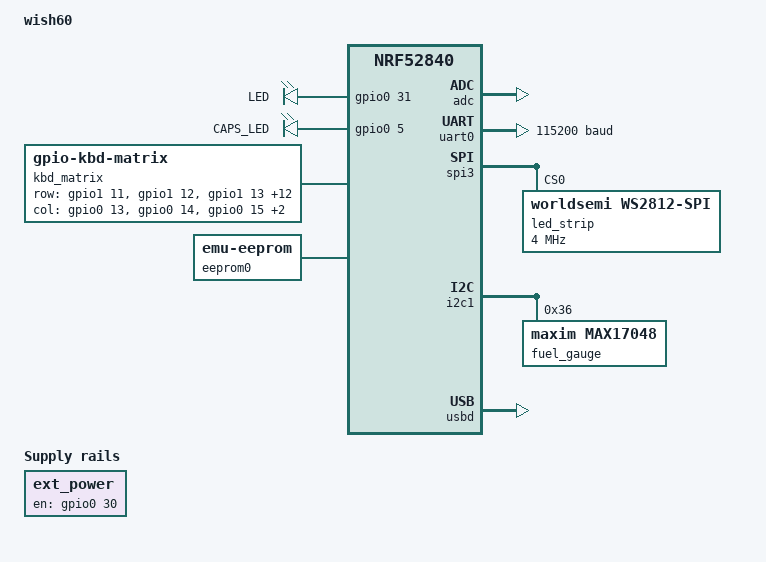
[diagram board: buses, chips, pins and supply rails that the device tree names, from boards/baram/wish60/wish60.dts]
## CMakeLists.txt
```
cmake_minimum_required(VERSION 3.20.0)

# 디버그 콘솔(UART/CLI/로그) — 기본 OFF(저전력). 개발 시: -DDEBUG_CONSOLE=y
#
# C 코드(_USE_HW_DEBUG_CONSOLE)와 Kconfig(debug.conf 의 CONFIG_SERIAL 등)를 반드시
# 한 스위치로 함께 움직인다. 둘이 갈라지면 조용히 전력을 먹는다 — 실제로 C 만 껐을 때
# Zephyr 콘솔 스택이 Kconfig 로 남아 1.13mA 를 계속 먹었다(콘솔 완전 제거 시 80.9µA).
# EXTRA_CONF_FILE 은 find_package(Zephyr) 전에 설정돼야 한다.
option(DEBUG_CONSOLE "Enable debug console (UART/CLI/log). Costs ~1mA — off for battery builds." OFF)
if (DEBUG_CONSOLE)
  list(APPEND EXTRA_CONF_FILE ${CMAKE_CURRENT_SOURCE_DIR}/debug.conf)
endif()

# out-of-tree board(boards/baram/<kbd>) 와 DTS 바인딩(dts/bindings/) 을 Zephyr 가 찾게 한다.
# 둘 다 find_package(Zephyr) **전에** 설정돼야 한다.
#
# [왜 여기서 하나] Zephyr 는 앱 폴더를 BOARD_ROOT 에 자동으로 넣지 않는다(확인함 —
# 없으면 "No board named 'wish65' found"). 예전엔 빌드할 때마다 -DBOARD_ROOT=$PWD 를 넘겼는데,
# 그러면 west 를 직접 부르거나 VS Code nRF Connect 확장을 쓸 때마다 그걸 기억해야 한다.
# 여기 두면 **어떤 방법으로 빌드하든** 보드를 찾는다.
list(APPEND BOARD_ROOT ${CMAKE_CURRENT_SOURCE_DIR})
list(APPEND DTS_ROOT   ${CMAKE_CURRENT_SOURCE_DIR})

find_package(Zephyr REQUIRED HINTS $ENV{ZEPHYR_BASE})



project(nrf52-qmk-fw)

if (DEBUG_CONSOLE)
  target_compile_definitions(app PRIVATE _USE_HW_DEBUG_CONSOLE)
endif()


# 빌드할 키보드 선택 — **board 이름에서 유도한다**.
#
# 키보드 한 대 = 두 트리다(§4.1): 하드웨어는 boards/baram/<board>/, 로직은
# keyboards/baram/<board>/. 이름 규약이 그 둘을 잇는 유일한 장치다.
#
# [왜 고정 기본값을 두지 않나] 예전엔 wish60 으로 고정돼 있었다. 그러면 `west build -b wish65`
# 가 **에러 없이 성공하고 wish60 의 키맵/MATRIX/USB PID 로 빌드된다** — 조용히 틀리는 게
# 컴파일 에러보다 나쁘다. 없는 키보드는 여기서 즉시 FATAL_ERROR 로 잡는다.
if (NOT DEFINED KEYBOARD_PATH)
  set(KEYBOARD_PATH "keyboards/baram/${BOARD}")
endif()
if (NOT EXISTS "${CMAKE_CURRENT_SOURCE_DIR}/src/ap/modules/qmk/${KEYBOARD_PATH}/config.h")
  message(FATAL_ERROR
    "키보드 트리가 없다: src/ap/modules/qmk/${KEYBOARD_PATH}\n"
    "  board '${BOARD}' 에 대응하는 키보드가 없다. 다음 중 하나를 하라:\n"
    "   - src/ap/modules/qmk/keyboards/baram/${BOARD}/ 를 만든다 (config.h 필수)\n"
    "   - 또는 -DKEYBOARD_PATH=keyboards/baram/<kbd> 로 명시한다")
endif()
message(STATUS "keyboard: ${KEYBOARD_PATH}  (board: ${BOARD})")

# QMK 코어 vendor-in 빌드 조각 (QMK_SRC_FILES / QMK_INC_DIR / compile defs 설정)
include(src/ap/modules/qmk/CMakeLists.txt)


# 지정한 폴더에 있는 파일만 포함한다.
#
file(GLOB SRC_FILES CONFIGURE_DEPENDS
  src/*.c
  src/ap/*.c
)

# 하위폴더에 있는 파일까지 포함한다. (qmk 모듈은 위 include 에서 선택적으로 처리)
#
file(GLOB_RECURSE SRC_FILES_RECURSE CONFIGURE_DEPENDS
  src/ap/modules/module.c
  src/ap/modules/common/*.c
  src/bsp/*.c
  src/common/*.c
  src/hw/*.c
)

target_sources(app PRIVATE
  ${SRC_FILES}
  ${SRC_FILES_RECURSE}
  ${QMK_SRC_FILES}
)

target_include_directories(app PRIVATE
  src
  src/ap
  src/ap/modules
  src/ap/modules/common
  src/bsp
  src/common
  src/common/core
  src/common/hw/include
  src/hw
  src/hw/driver/usb
  src/lib
  ${QMK_INC_DIR}
)

zephyr_linker_sources(SECTIONS src/bsp/ldscript/ldscript.ld)
```

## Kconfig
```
# 앱 전용 Kconfig. Zephyr 가 자동으로 source 한다.

config KBD_FW_VERSION
	string "펌웨어 버전 (baram 관례: V + YYMMDD + R#)"
	default "V260717R1"
	help
	  **버전의 단일 출처.** 여기 하나만 고치면 다음이 전부 따라간다:
	    - 부팅 로그 (hw_def.h 의 _DEF_FIRMWATRE_VERSION)
	    - BLE DIS 의 Firmware Revision 특성 (BT_DIS_FW_REV_STR 의 default)
	    - release.sh 가 만드는 파일명 (output/<board>-<ver>.uf2)

	  C 매크로(hw_def.h)가 아니라 Kconfig 에 두는 이유: Kconfig 는 C 를 못 읽지만 C 는
	  Kconfig 를 읽을 수 있다. DIS 처럼 Kconfig 로만 설정되는 소비자가 있으므로 여기가
	  유일하게 성립하는 자리다.

# BLE DIS 의 펌웨어 리비전을 위 값으로. (Zephyr 기본값은 "0.0.0+0")
config BT_DIS_FW_REV_STR
	default KBD_FW_VERSION

source "Kconfig.zephyr"
```

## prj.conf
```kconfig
# [저전력] 콘솔/시리얼(CONFIG_SERIAL 등)은 여기 없다 — debug.conf 로 분리했다.
# UARTE 는 RX 활성 시 HFCLK 를 잡아 ~1mA 를 먹는다(실측 1.13mA vs 80.9µA).
# 개발 시에만: west build ... -- -DDEBUG_CONSOLE=y

CONFIG_GPIO=y

# 배터리 잔량 — nRF VDDH 내장 ADC (외부 부품 0). driver/battery.c
# 나중에 MAX17048 로 확장 시: CONFIG_FUEL_GAUGE=y + CONFIG_MAX17048=y + CONFIG_I2C=y
CONFIG_ADC=y

# 네오픽셀: ext-power 레일(regulator-fixed) + ws2812(SPIM 으로 비트 패턴 전송).
# REGULATOR_FIXED / WS2812_STRIP_SPI 는 DTS 노드가 있으면 default y 라 안 적어도 켜진다.
CONFIG_REGULATOR=y
CONFIG_LED_STRIP=y

# SPIM3 는 첫 전송 때 nrfx_spim_init() 되고 그 뒤 **계속 ENABLE 로 남는다**
# (spi_nrfx_spim.c 의 configure()). PM 이 없으면 uninit 될 기회가 없어 RGB 를 꺼도
# ~1mA 를 계속 먹는다(실측). SPIM3 는 nRF52840 anomaly 195 대상이고 그 workaround 는
# nrfx_spim_uninit() 때 적용되므로 uninit 이 반드시 필요하다.
#
# [주의] CONFIG_PM_DEVICE_RUNTIME 은 쓰지 않는다 — 실측에서 idle 이 69µA -> 652µA 로
# 10배 악화됐다(워크큐/딸려오는 노드 오버헤드). Phase 6 의 UART 런타임 PM 과 같은 함정.
# 대신 PM_DEVICE 만 켜고 **RGB 를 끌 때만 수동으로 suspend** 한다(rgb_matrix_drivers.c).
CONFIG_PM_DEVICE=y

# QMK 코어가 GNU C 확장을 쓴다(quantum/eeconfig.h 의 EECONFIG_DEBOUNCE_HELPER -> typeof).
# 기본값 CONFIG_STD_C99 는 -std=c99 라 GNU 확장이 꺼져 컴파일이 막힌다.
CONFIG_GNU_C_EXTENSIONS=y

CONFIG_MAIN_STACK_SIZE=8192
CONFIG_MULTITHREADING=y

# USB HID
#
CONFIG_USB_DEVICE_STACK_NEXT=y
CONFIG_CDC_ACM_SERIAL_INITIALIZE_AT_BOOT=n
CONFIG_USBD_HID_SUPPORT=y
CONFIG_ENABLE_HID_INT_OUT_EP=y

CONFIG_USBD_LOG_LEVEL_WRN=y
CONFIG_USBD_HID_LOG_LEVEL_WRN=y
CONFIG_UDC_DRIVER_LOG_LEVEL_WRN=y

CONFIG_INPUT=y
CONFIG_INPUT_MODE_SYNCHRONOUS=y

# 키 매트릭스: Zephyr 네이티브 gpio-kbd-matrix (DTS: kbd_matrix).
# idle 시 인터럽트 대기로 CPU sleep (저전력). 디바운스는 QMK 가 담당(드라이버 0).
CONFIG_INPUT_GPIO_KBD_MATRIX=y
# 입력 라인 15개(wish60 col) → 8비트 기본으론 8개 한도라 16비트 row 타입 필요
CONFIG_INPUT_KBD_MATRIX_16_BIT_ROW=y

# 부트로더는 보드에 미리 플래시된 UF2 부트로더(wish60/Adafruit) 사용.
# 앱을 code_partition(0x1000) 오프셋에 맞춰 빌드하고 .uf2 산출물 생성.
CONFIG_USE_DT_CODE_PARTITION=y
CONFIG_BUILD_OUTPUT_UF2=y

# bootloader_jump()/mcu_reset() 에서 sys_reboot() 사용
CONFIG_REBOOT=y

# deep sleep: sys_poweroff() = nRF52 System OFF (port/activity.c)
# 웨이크업은 GPIO DETECT 로만 — board DTS 의 sense-edge-mask 가 전제다.
CONFIG_POWEROFF=y

# QMK 키맵 영속화: 플래시 에뮬레이션 EEPROM (eeprom0 노드)
CONFIG_FLASH=y
CONFIG_FLASH_MAP=y
CONFIG_FLASH_PAGE_LAYOUT=y
CONFIG_MPU_ALLOW_FLASH_WRITE=y
CONFIG_EEPROM=y
CONFIG_EEPROM_EMULATOR=y

# BLE (Phase 5) — NCS 의 HID over GATT 서비스(BT_HIDS) 사용.
CONFIG_BT=y
CONFIG_BT_PERIPHERAL=y
# BLE 이름은 **키보드 config.h 의 KBD_NAME 이 진실**이다(USB 제품명과 같은 출처).
# 이 값은 bt_set_name() 전까지의 fallback 일 뿐 — 여기 키보드 이름을 적지 말 것.
# (예전엔 "WISH60" 이 박혀 있어서 모든 보드가 WISH60 으로 광고됐다)
CONFIG_BT_DEVICE_NAME="baram-kbd"
CONFIG_BT_DEVICE_NAME_DYNAMIC=y
CONFIG_BT_DEVICE_NAME_MAX=32
# 961 = HID Keyboard
CONFIG_BT_DEVICE_APPEARANCE=961
# 페어링/본딩 (HID over GATT 는 암호화 필수)
CONFIG_BT_SMP=y
# 프로파일 5개를 ZMK 처럼 **동시에 연결한 채로** 두고 활성 프로파일에만 리포트를 보낸다
# (전환 시 재연결 대기 없음). 그래서 BT_MAX_CONN 도 5.
CONFIG_BT_MAX_CONN=5
# 활성 프로파일이 이미 다른 호스트에게 잡혀 있으면 페어링을 거부한다(port/ble.c auth_pairing_accept).
# 없으면 새 호스트가 기존 프로파일을 덮어써 슬롯을 잃는다.
CONFIG_BT_SMP_APP_PAIRING_ACCEPT=y
# 같은 호스트가 다시 페어링할 때 기존 본딩을 덮어쓰도록 허용한다. 없으면 Zephyr 의
# update_keys_check() 가 거부하고 BT_SMP_ERR_AUTH_REQUIREMENTS(security err 4)를 낸다
# — 호스트에서 페어링을 지우고 다시 붙일 때마다 실패한다. ZMK 도 imply 로 켠다.
CONFIG_BT_SMP_ALLOW_UNAUTH_OVERWRITE=y

# TX power 런타임 변경(port/ble.c 의 bleSetTxPower). 이 옵션이 있어야 SoftDevice Controller 가
# VS HCI 명령 0xfc0e(WRITE_TX_POWER_LEVEL)를 처리한다(nrf/.../hci_internal.c 의 #if).
# Zephyr **표준** VS 명령이라 순수 Zephyr 컨트롤러로 옮겨도 그대로 동작한다(NCS 락인 아님).
CONFIG_BT_CTLR_TX_PWR_DYNAMIC_CONTROL=y
# BLE 프로파일(호스트 전환용) 5개 = 본딩 5개. ZMK 기본값(ZMK_BLE_PROFILE_COUNT)과 동일.
# 프로파일 선택/광고 전환 로직은 앱 레벨(port/ble.c)에서 구현한다(ZMK app/src/ble.c 패턴).
CONFIG_BT_MAX_PAIRED=5
CONFIG_BT_HIDS=y
CONFIG_BT_HIDS_MAX_CLIENT_COUNT=5
CONFIG_BT_HIDS_DEFAULT_PERM_RW_ENCRYPT=y
CONFIG_BT_CONN_CTX=y
CONFIG_BT_GATT_AUTO_SEC_REQ=n
CONFIG_BT_ATT_TX_COUNT=5
CONFIG_BT_GATT_UUID16_POOL_SIZE=40
CONFIG_BT_GATT_CHRC_POOL_SIZE=20
# 배터리 서비스 (Phase 6 에서 값 공급)
CONFIG_BT_BAS=y
CONFIG_BT_DIS=y

# Device Information Service — 호스트가 "이 키보드가 뭔가" 를 읽는 곳.
#
# [보드마다 달라야 하는 것은 여기 두지 않는다] 이 파일은 **모든 보드가 공유**한다.
# 모델명과 PnP PID 는 보드 defconfig 에 있다(BLE 이름이 전부 "WISH60" 이던 것과 같은 함정).
# 그리고 model/PnP 는 런타임 설정이 안 된다 — dis_set() 이 다루는 건 manuf/model/serial/fw/hw
# 뿐이고 PnP 는 없다. 그래서 Kconfig(보드 defconfig)가 유일한 자리다.
CONFIG_BT_DIS_MANUF_NAME=y
CONFIG_BT_DIS_MANUF_NAME_STR="BARAM"

# 펌웨어 리비전 — 값은 앱 Kconfig 의 KBD_FW_VERSION 이 준다(레포 루트 Kconfig 의 default).
# **릴리스 빌드는 콘솔이 없어 부팅 로그로 버전을 볼 수 없다.** 이게 배포된 펌웨어가 자기
# 버전을 말할 수 있는 유일한 통로다(nRF Connect 같은 앱에서 읽힌다).
CONFIG_BT_DIS_FW_REV=y

# PnP ID — 호스트가 장치를 식별하는 데 쓴다. VID_SRC=2 = USB Implementer's Forum
# (우리 VID 0x0483 은 USB VID 다). PID 는 보드마다 달라 defconfig 에 있다.
CONFIG_BT_DIS_PNP=y
CONFIG_BT_DIS_PNP_VID_SRC=2
CONFIG_BT_DIS_PNP_VID=0x0483

# BLE 연결 파라미터 — 무선 전력의 핵심. ZMK 기본값과 동일하게 맞춘다.
# 단위 1.25ms → 연결 간격 7.5~15ms
CONFIG_BT_PERIPHERAL_PREF_MIN_INT=6
CONFIG_BT_PERIPHERAL_PREF_MAX_INT=12
# slave latency: 보낼 게 없으면 연결 이벤트를 최대 30개 건너뛴다.
# → idle 시 15ms*(30+1) ≈ 465ms 마다만 라디오 wakeup (기본값 0 이면 매 간격마다 깨어남).
# 키 입력 시엔 즉시 전송되므로 체감 지연 없음.
CONFIG_BT_PERIPHERAL_PREF_LATENCY=30
# supervision timeout 4s (latency*interval 보다 충분히 커야 연결이 안 끊긴다)
CONFIG_BT_PERIPHERAL_PREF_TIMEOUT=400

# bond/설정 영속화 (storage_partition = 0xdc000, emu-eeprom 파티션과 별개)
CONFIG_SETTINGS=y
CONFIG_SETTINGS_NVS=y
CONFIG_NVS=y
CONFIG_BT_SETTINGS=y

CONFIG_SYSTEM_WORKQUEUE_STACK_SIZE=2048
```

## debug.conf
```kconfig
# 디버그 콘솔 오버레이 — `-DDEBUG_CONSOLE=y` 일 때만 적용된다(CMakeLists.txt).
#
# 이 파일이 prj.conf 와 분리된 이유(실측 근거):
#   배터리 idle 전류 1.13mA → 80.9µA (14배). 차이는 전부 UARTE 였다.
#   nRF52840 UARTE 는 RX 활성 상태에서 HFCLK 를 계속 잡아 ~1mA 를 먹는다.
#   C 코드만 빼는 것(_USE_HW_DEBUG_CONSOLE)으로는 부족하다 — 그때는 1.21→1.13mA 로
#   거의 변화가 없었다. Zephyr 콘솔 스택이 Kconfig 로 여전히 빌드·초기화되기 때문.
#   즉 콘솔 제거는 반드시 C(_USE_HW_*)와 Kconfig(CONFIG_SERIAL) 양쪽이어야 한다.
#   런타임 게이팅(PM suspend)도 시도했으나 오히려 악화됐다(1.21→1.98mA).

CONFIG_SERIAL=y
CONFIG_CONSOLE=y
CONFIG_UART_CONSOLE=y

CONFIG_CONSOLE_SUBSYS=y
CONFIG_CONSOLE_GETCHAR=y
CONFIG_CONSOLE_GETCHAR_BUFSIZE=64
CONFIG_CONSOLE_PUTCHAR_BUFSIZE=512

CONFIG_LOG=y
```

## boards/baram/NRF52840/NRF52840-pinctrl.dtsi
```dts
&pinctrl {
  uart0_default: uart0_default {
    group1 {
      psels = <NRF_PSEL(UART_TX, 0, 10)>, <NRF_PSEL(UART_RX, 0, 9)>;
    };
  };

  uart0_sleep: uart0_sleep {
    group1 {
      psels = <NRF_PSEL(UART_TX, 0, 10)>;
    };
  };

  /* ws2812(네오픽셀) — SPIM MOSI 만 쓴다. wish60 회로: P0.26 */
  spi3_default: spi3_default {
    group1 {
      psels = <NRF_PSEL(SPIM_MOSI, 0, 26)>;
    };
  };

  spi3_sleep: spi3_sleep {
    group1 {
      psels = <NRF_PSEL(SPIM_MOSI, 0, 26)>;
      low-power-enable;
    };
  };
};
```

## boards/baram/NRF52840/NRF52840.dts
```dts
/dts-v1/;
#include <nordic/nrf52840_qiaa.dtsi>
#include "NRF52840-pinctrl.dtsi"
#include <zephyr/dt-bindings/dt-util.h>   // BIT()
#include <zephyr/dt-bindings/led/led.h>      // LED_COLOR_ID_* (ws2812 color-mapping)

/ {
	model = "NRF52840";
	compatible = "baram,NRF52840";

	chosen {
		zephyr,sram = &sram0;
		zephyr,flash = &flash0;
		zephyr,code-partition = &code_partition;
    zephyr,console = &uart0;
	};

  /* 디버그용 LED (P0.31). 하트비트 등 개발 편의 — hw/driver/led.c. 키보드 기능과 무관. */
  leds {
    compatible = "gpio-leds";
    led: led_0 {
      gpios = <&gpio0 31 GPIO_ACTIVE_HIGH>;
      label = "LED";
    };
  };

  /*
   * 키보드 인디케이터 LED (P0.05) — 위 디버그 LED 와 **별개 부품**이다.
   *
   * 디버그 LED 드라이버(hw/driver/led.c)의 채널로 넣지 않고 노드를 따로 둔다: 그건 개발용이고
   * 이건 키보드 기능이라 수명이 다르다(디버그 LED 는 언젠가 빠져도 이건 남는다).
   * 사용처: keyboards/<kbd>/port/led_port.c 의 led_update_kb() — GPIO_DT_SPEC_GET 로 직접 잡는다.
   *
   * compatible 은 gpio-leds 를 쓴다(gpio-keys 는 입력 드라이버가 붙어 zephyr-code 를 요구한다).
   * CONFIG_LED 를 켜지 않으므로 LED 서브시스템 드라이버는 안 붙고 DT 매크로만 쓴다.
   */
  indicator_leds {
    compatible = "gpio-leds";
    caps_led: led_0 {
      gpios = <&gpio0 5 GPIO_ACTIVE_HIGH>;
      label = "CAPS_LED";
    };
  };

	usb_hid_kbd: hid_kbd {
		compatible = "zephyr,hid-device";
		label = "HID_KBD";
		protocol-code = "keyboard";
		in-report-size = <64>;
		in-polling-period-us = <1000>;
	};  

	usb_hid_via: hid_via {
		compatible = "zephyr,hid-device";
		label = "HID_VIA";
		protocol-code = "none";
		in-report-size = <32>;
    out-report-size = <32>;
		in-polling-period-us = <1000>;
    out-polling-period-us = <1000>;
	};

	usb_hid_exk: hid_exk {
		compatible = "zephyr,hid-device";
		label = "HID_EXK";
		protocol-code = "none";
		in-report-size = <64>;
		in-polling-period-us = <1000>;
  };

  /*
   * 키 매트릭스 — Zephyr 네이티브 gpio-kbd-matrix.
   *
   * [주의] Zephyr 명명은 반대다: row-gpios = 입력, col-gpios = 구동 출력.
   * wish60 은 row2col 이라 역매핑한다 — row-gpios = wish60 col(15), col-gpios = wish60 row(5).
   * 배경은 docs/PORTING-NOTES.md §2.4 참고.
   */
  /*
   * 네오픽셀 전원 레일 (wish60: P0.30).
   *
   * ZMK 는 zmk,ext-power-generic 이라는 자체 바인딩을 쓰지만, 이건 본질적으로 GPIO 로 켜고 끄는
   * 고정 레귤레이터라 Zephyr 네이티브 regulator-fixed 로 충분하다(regulator_enable/disable).
   * 흡수 코드 0 — kbd-matrix / MAX17048 과 같은 판단.
   *
   * wish60/wish65 둘 다 이 레일은 **네오픽셀만** 끊는다(595 는 상시 전원) — 확인됨.
   * regulator-boot-on 을 주지 않는다 = 부팅 시 꺼진 상태. RGB 를 켤 때만 올린다(전력).
   */
  ext_power: ext-power {
    compatible = "regulator-fixed";
    regulator-name = "ext-power";
    enable-gpios = <&gpio0 30 GPIO_ACTIVE_HIGH>;
    startup-delay-us = <1000>;   /* 레일이 올라올 시간. 바로 쓰면 첫 프레임이 깨진다 */
  };

  kbd_matrix: kbd-matrix {
    compatible = "gpio-kbd-matrix";

    row-gpios = <&gpio1 11 (GPIO_ACTIVE_HIGH | GPIO_PULL_DOWN)>,   /* wish60 col0  */
                <&gpio1 12 (GPIO_ACTIVE_HIGH | GPIO_PULL_DOWN)>,   /* col1  */
                <&gpio1 13 (GPIO_ACTIVE_HIGH | GPIO_PULL_DOWN)>,   /* col2  */
                <&gpio1 14 (GPIO_ACTIVE_HIGH | GPIO_PULL_DOWN)>,   /* col3  */
                <&gpio1 15 (GPIO_ACTIVE_HIGH | GPIO_PULL_DOWN)>,   /* col4  */
                <&gpio0  3 (GPIO_ACTIVE_HIGH | GPIO_PULL_DOWN)>,   /* col5  */
                <&gpio0 17 (GPIO_ACTIVE_HIGH | GPIO_PULL_DOWN)>,   /* col6  */
                <&gpio0 21 (GPIO_ACTIVE_HIGH | GPIO_PULL_DOWN)>,   /* col7  */
                <&gpio0 20 (GPIO_ACTIVE_HIGH | GPIO_PULL_DOWN)>,   /* col8  */
                <&gpio0 23 (GPIO_ACTIVE_HIGH | GPIO_PULL_DOWN)>,   /* col9  */
                <&gpio0 22 (GPIO_ACTIVE_HIGH | GPIO_PULL_DOWN)>,   /* col10 */
                <&gpio1  0 (GPIO_ACTIVE_HIGH | GPIO_PULL_DOWN)>,   /* col11 */
                <&gpio0 24 (GPIO_ACTIVE_HIGH | GPIO_PULL_DOWN)>,   /* col12 */
                <&gpio0 25 (GPIO_ACTIVE_HIGH | GPIO_PULL_DOWN)>,   /* col13 */
                <&gpio1 10 (GPIO_ACTIVE_HIGH | GPIO_PULL_DOWN)>;   /* col14 */

    col-gpios = <&gpio0 13 GPIO_ACTIVE_HIGH>,                      /* wish60 row0 */
                <&gpio0 14 GPIO_ACTIVE_HIGH>,                      /* row1 */
                <&gpio0 15 GPIO_ACTIVE_HIGH>,                      /* row2 */
                <&gpio0 16 GPIO_ACTIVE_HIGH>,                      /* row3 */
                <&gpio1  2 GPIO_ACTIVE_HIGH>;                      /* row4 */

    idle-mode = "interrupt";   /* 키 없을 때 인터럽트 대기 → CPU sleep */
    wakeup-source;             /* deep sleep(Phase 6)에서 wakeup 소스로 유지 */
    no-ghostkey-check;         /* 다이오드(row2col) 있으므로 고스팅 검사 불필요 */

    /*
     * 키 눌린 동안 매트릭스 재스캔 주기. QMK 처리 주기(config.h 의 QMK_TASK_PERIOD_MS)와는
     * **별개 노브**다 — 같을 필요 없다. 둘 다 CPU 를 깨우므로 전력엔 둘 다 영향을 준다.
     * 실측/근거는 docs/PORTING-NOTES.md §6.4.
     */
    poll-period-ms   = <2>;    /* 키 변화 감지 지연 <=2ms, USB 리포트율 500Hz */
    debounce-down-ms = <0>;    /* 디바운스는 QMK 가 담당 (이중 디바운스 방지) */
    debounce-up-ms   = <0>;
  };
};

&flash0 {
	/*
	 * wish60 단일슬롯 레이아웃. UF2 부트로더가 미리 들어있다고 전제하고 앱만 빌드한다.
	 * 반드시 --no-sysbuild 로 빌드할 것(안 그러면 부팅 안 함). docs/PORTING-NOTES.md §2.2/§2.3.
	 */
	partitions {
		compatible = "fixed-partitions";
		#address-cells = <1>;
		#size-cells = <1>;

		sd_partition: partition@0 {
			reg = <0x00000000 0x00001000>;
		};

		code_partition: partition@1000 {
			reg = <0x00001000 0x000d3000>;
		};

		/* QMK 키맵 영속화용 emu-eeprom 백엔드 (32KB = 8 페이지) */
		eeprom_partition: partition@d4000 {
			label = "eeprom";
			reg = <0x000d4000 0x00008000>;
		};

		/* 향후 NVS/settings (BLE bond 등, Phase 5) */
		storage_partition: partition@dc000 {
			label = "storage";
			reg = <0x000dc000 0x00018000>;
		};

		boot_partition: partition@f4000 {
			reg = <0x000f4000 0x0000c000>;
		};
	};
};

/ {
	/* QMK dynamic_keymap 저장소. size 는 config.h 의 TOTAL_EEPROM_BYTE_COUNT 와 일치시킬 것. */
	eeprom0: eeprom {
		compatible = "zephyr,emu-eeprom";
		size = <4096>;          /* 논리 EEPROM 크기 = config.h TOTAL_EEPROM_BYTE_COUNT */
		pagesize = <0x2000>;    /* 에뮬 페이지(=플래시 2페이지). size 보다 커야 함 */
		partition = <&eeprom_partition>;
		rambuf;             /* 읽기를 RAM 에서 → 플래시 read 회피 */
		partition-erase;    /* erase 지연·통합 → 플래시 erase 최소화 */
	};
};

/*
 * sense-edge-mask — row-gpios(입력) 핀을 그대로 BIT() 로 나열한다. 빠지면 빌드 에러
 * (port/matrix.c 의 BUILD_ASSERT). 이유는 docs/PORTING-NOTES.md §3.5 참고.
 */
&gpio0 {
  status = "okay";
  sense-edge-mask = <(BIT(3) | BIT(17) | BIT(20) | BIT(21) |
                      BIT(22) | BIT(23) | BIT(24) | BIT(25))>;
};

&gpiote {
  status = "okay";
};

/*
 * 배터리 잔량(VDDH) 측정용. MAX17048(i2c1 @0x36) 노드를 켜면 driver/battery.c 가 연료게이지
 * 백엔드로 자동 전환한다. docs/PORTING-NOTES.md §6.3 참고.
 */
&adc {
  status = "okay";
};

&uart0 {
  status = "okay";
  pinctrl-0 = <&uart0_default>;
  pinctrl-1 = <&uart0_sleep>;
  pinctrl-names = "default", "sleep";
  compatible = "nordic,nrf-uarte";
  current-speed = <115200>;
};

&gpio1 {
  status = "okay";
  sense-edge-mask = <(BIT(0) | BIT(10) | BIT(11) | BIT(12) |
                      BIT(13) | BIT(14) | BIT(15))>;
};

/*
 * 네오픽셀 — Zephyr 네이티브 worldsemi,ws2812-spi (SPIM MOSI 로 비트 패턴을 쏜다).
 * ZMK 도 같은 드라이버를 쓴다. 전원은 위 ext_power 레일이 공급한다.
 * 값(chain-length/color-mapping/frame)은 wish60 회로 기준.
 */
&spi3 {
  compatible = "nordic,nrf-spim";
  status = "okay";

  pinctrl-0 = <&spi3_default>;
  pinctrl-1 = <&spi3_sleep>;
  pinctrl-names = "default", "sleep";

  led_strip: ws2812@0 {
    compatible = "worldsemi,ws2812-spi";
    reg = <0>;                  /* SPI 바인딩상 필요하지만 CS 는 안 쓴다 */
    spi-max-frequency = <4000000>;

    chain-length = <16>;        /* wish60 언더글로우 LED 개수 */
    spi-one-frame = <0x70>;
    spi-zero-frame = <0x40>;
    color-mapping = <LED_COLOR_ID_GREEN LED_COLOR_ID_RED LED_COLOR_ID_BLUE>;
  };
};

zephyr_udc0: &usbd {
	compatible = "nordic,nrf-usbd";
	status = "okay";
	num-bidir-endpoints = <0>;
	num-in-endpoints = <7>;
	num-out-endpoints = <2>;
	num-isoin-endpoints = <0>;
	num-isoout-endpoints = <0>;
};
```

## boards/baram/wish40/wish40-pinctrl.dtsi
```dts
&pinctrl {
  /*
   * **UART 없음.** 이 보드엔 디버그 UART 배선이 없다(회로도 확인 — H2 는 SWD 만).
   * 따라서 `./build.sh wish40 -d`(콘솔 빌드)를 쓸 수 없다. 필요해지면 SWD 로 RTT 콘솔을
   * 붙이는 방법이 있다(CONFIG_RTT_CONSOLE) — 아직 안 해봤다.
   */

  /* ws2812(네오픽셀) — SPIM MOSI 만 쓴다. wish40 회로: P0.26 (TXB0101 레벨시프터 경유) */
  spi3_default: spi3_default {
    group1 {
      psels = <NRF_PSEL(SPIM_MOSI, 0, 26)>;
    };
  };

  spi3_sleep: spi3_sleep {
    group1 {
      psels = <NRF_PSEL(SPIM_MOSI, 0, 26)>;
      low-power-enable;
    };
  };

  /* MAX17048 연료게이지 — SDA P0.28 / SCL P0.29 */
  i2c1_default: i2c1_default {
    group1 {
      psels = <NRF_PSEL(TWIM_SDA, 0, 28)>,
              <NRF_PSEL(TWIM_SCL, 0, 29)>;
      bias-pull-up;
    };
  };

  i2c1_sleep: i2c1_sleep {
    group1 {
      psels = <NRF_PSEL(TWIM_SDA, 0, 28)>,
              <NRF_PSEL(TWIM_SCL, 0, 29)>;
      low-power-enable;
      bias-pull-up;
    };
  };
};
```

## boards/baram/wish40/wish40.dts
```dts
/dts-v1/;
#include <nordic/nrf52840_qiaa.dtsi>
#include "wish40-pinctrl.dtsi"
#include <zephyr/dt-bindings/dt-util.h>      // BIT()
#include <zephyr/dt-bindings/led/led.h>      // LED_COLOR_ID_* (ws2812 color-mapping)

/*
 * wish40 — 40% 배열(42키), nRF52840 (E73-2G4M08S1C 모듈).
 *
 * 다른 보드와의 차이:
 *  - **MAX17048 연료게이지**(i2c1 @0x36). wish60/wish65 는 VDDH ADC 다 — 이 보드가 처음이다.
 *    driver/battery.c 가 DT 로 백엔드를 자동 선택한다(§6.3).
 *  - **네오픽셀 42개**(wish60 16 / wish65 18). 그래서 밝기 상한을 낮췄다 — config.h 참고.
 *  - **Caps LED 가 없다**. 디버그 LED(P0.04)만 있다 -> caps_led 노드 없음 = led_port.c 컴파일아웃.
 *  - **디버그 UART 가 없다**(회로도 확인 — H2 는 SWD 만). 콘솔 빌드(-d)를 쓸 수 없다.
 *  - 매트릭스는 wish60 과 같은 **row2col** 이다 -> MATRIX_DRIVE_IS_QMK_COL 불필요.
 */

/ {
	model = "wish40";
	compatible = "baram,wish40";

	chosen {
		zephyr,sram = &sram0;
		zephyr,flash = &flash0;
		zephyr,code-partition = &code_partition;
		/* zephyr,console 없음 — 이 보드엔 UART 가 없다(위 참고) */
	};

	/*
	 * 디버그용 LED (P0.04). 하트비트 등 개발 편의 — hw/driver/led.c. 키보드 기능과 무관.
	 * 기판의 LED2/LED3 는 충전기(TP4054) CHRG 표시라 MCU 가 구동하지 않는다.
	 *
	 * **Caps LED 는 없다**(회로도 확인) -> caps_led 노드를 두지 않는다. 그러면 hw_def.h 의
	 * DT_NODE_EXISTS 와 port/led_port.c 의 가드가 알아서 빠진다. 공통 코드는 손댈 게 없다(§4.1.2).
	 */
	leds {
		compatible = "gpio-leds";
		led: led_0 {
			gpios = <&gpio0 4 GPIO_ACTIVE_HIGH>;
			label = "LED";
		};
	};

	usb_hid_kbd: hid_kbd {
		compatible = "zephyr,hid-device";
		label = "HID_KBD";
		protocol-code = "keyboard";
		in-report-size = <64>;
		in-polling-period-us = <1000>;
	};

	usb_hid_via: hid_via {
		compatible = "zephyr,hid-device";
		label = "HID_VIA";
		protocol-code = "none";
		in-report-size = <32>;
		out-report-size = <32>;
		in-polling-period-us = <1000>;
		out-polling-period-us = <1000>;
	};

	usb_hid_exk: hid_exk {
		compatible = "zephyr,hid-device";
		label = "HID_EXK";
		protocol-code = "none";
		in-report-size = <64>;
		in-polling-period-us = <1000>;
	};

	/*
	 * 네오픽셀 전원 레일 (P0.30). 이 레일은 네오픽셀(VDD_OUT)만 끊는다 — 회로도 확인.
	 * regulator-boot-on 없음 = 부팅 시 꺼진 상태. RGB 를 켤 때만 올린다.
	 */
	ext_power: ext-power {
		compatible = "regulator-fixed";
		regulator-name = "ext-power";
		enable-gpios = <&gpio0 30 GPIO_ACTIVE_HIGH>;
		startup-delay-us = <1000>;
	};

	/*
	 * 키 매트릭스 — Zephyr 네이티브 gpio-kbd-matrix.
	 *
	 * [주의] Zephyr 명명은 QMK 와 반대다: row-gpios = **입력**, col-gpios = **구동 출력**.
	 * wish40 은 row2col(= wish60 과 같다) 이라 역매핑한다:
	 *   Zephyr row-gpios = 입력 12개 = **QMK col**   (ZMK 정의의 col-gpios, PULL_DOWN 이 붙은 쪽)
	 *   Zephyr col-gpios = 구동  4개 = **QMK row**   (ZMK 정의의 row-gpios)
	 * 배경은 docs/PORTING-NOTES.md §2.4 / §4.1.1.
	 */
	kbd_matrix: kbd-matrix {
		compatible = "gpio-kbd-matrix";

		row-gpios = <&gpio0  6 (GPIO_ACTIVE_HIGH | GPIO_PULL_DOWN)>,   /* wish40 col0  */
		            <&gpio0  7 (GPIO_ACTIVE_HIGH | GPIO_PULL_DOWN)>,   /* col1  */
		            <&gpio0  8 (GPIO_ACTIVE_HIGH | GPIO_PULL_DOWN)>,   /* col2  */
		            <&gpio0 12 (GPIO_ACTIVE_HIGH | GPIO_PULL_DOWN)>,   /* col3  */
		            <&gpio0 31 (GPIO_ACTIVE_HIGH | GPIO_PULL_DOWN)>,   /* col4  */
		            <&gpio1 13 (GPIO_ACTIVE_HIGH | GPIO_PULL_DOWN)>,   /* col5  */
		            <&gpio1 11 (GPIO_ACTIVE_HIGH | GPIO_PULL_DOWN)>,   /* col6  */
		            <&gpio1 10 (GPIO_ACTIVE_HIGH | GPIO_PULL_DOWN)>,   /* col7  */
		            <&gpio0 24 (GPIO_ACTIVE_HIGH | GPIO_PULL_DOWN)>,   /* col8  */
		            <&gpio1  6 (GPIO_ACTIVE_HIGH | GPIO_PULL_DOWN)>,   /* col9  */
		            <&gpio1  4 (GPIO_ACTIVE_HIGH | GPIO_PULL_DOWN)>,   /* col10 */
		            <&gpio1  2 (GPIO_ACTIVE_HIGH | GPIO_PULL_DOWN)>;   /* col11 */

		col-gpios = <&gpio0 13 GPIO_ACTIVE_HIGH>,                      /* wish40 row0 */
		            <&gpio0 15 GPIO_ACTIVE_HIGH>,                      /* row1 */
		            <&gpio0 17 GPIO_ACTIVE_HIGH>,                      /* row2 */
		            <&gpio0 20 GPIO_ACTIVE_HIGH>;                      /* row3 */

		idle-mode = "interrupt";   /* 키 없을 때 인터럽트 대기 → CPU sleep */
		wakeup-source;
		no-ghostkey-check;         /* 다이오드(row2col) 있으므로 고스팅 검사 불필요 */

		poll-period-ms   = <2>;    /* 구동이 GPIO 라 wish60 과 같다(595 가 아니다) */
		debounce-down-ms = <0>;    /* 디바운스는 QMK 가 담당 (이중 디바운스 방지) */
		debounce-up-ms   = <0>;
	};
};

&flash0 {
	/*
	 * wish60 과 같은 단일슬롯 레이아웃(둘 다 nRF52840 1MB). UF2 부트로더 전제.
	 * 반드시 --no-sysbuild 로 빌드할 것. §2.2/§2.3.
	 */
	partitions {
		compatible = "fixed-partitions";
		#address-cells = <1>;
		#size-cells = <1>;

		sd_partition: partition@0 {
			reg = <0x00000000 0x00001000>;
		};

		code_partition: partition@1000 {
			reg = <0x00001000 0x000d3000>;
		};

		/* QMK 키맵 영속화용 emu-eeprom 백엔드 (32KB) */
		eeprom_partition: partition@d4000 {
			label = "eeprom";
			reg = <0x000d4000 0x00008000>;
		};

		/* NVS/settings (BLE bond 등) */
		storage_partition: partition@dc000 {
			label = "storage";
			reg = <0x000dc000 0x00018000>;
		};

		boot_partition: partition@f4000 {
			reg = <0x000f4000 0x0000c000>;
		};
	};
};

/ {
	/* QMK dynamic_keymap 저장소. size 는 config.h 의 TOTAL_EEPROM_BYTE_COUNT 와 일치시킬 것. */
	eeprom0: eeprom {
		compatible = "zephyr,emu-eeprom";
		size = <4096>;
		pagesize = <0x2000>;
		partition = <&eeprom_partition>;
		rambuf;
		partition-erase;
	};
};

/*
 * sense-edge-mask — row-gpios(입력) 핀을 그대로 BIT() 로 나열한다. 빠지면 빌드 에러
 * (port/matrix.c 의 BUILD_ASSERT). deep sleep(System OFF)에서 GPIOTE 가 꺼지므로
 * DETECT/SENSE 로만 깨어날 수 있다. §3.5 참고.
 */
&gpio0 {
	status = "okay";
	sense-edge-mask = <(BIT(6) | BIT(7) | BIT(8) | BIT(12) | BIT(24) | BIT(31))>;
};

&gpio1 {
	status = "okay";
	sense-edge-mask = <(BIT(2) | BIT(4) | BIT(6) | BIT(10) | BIT(11) | BIT(13))>;
};

&gpiote {
	status = "okay";
};

/* MAX17048 이 있으므로 VDDH ADC 는 안 쓴다. adc 노드는 켜두되 battery.c 가 알아서 고른다(§6.3). */
&adc {
	status = "okay";
};

/*
 * 배터리 연료게이지 — **이 보드만 MAX17048 을 쓴다**(wish60/wish65 는 VDDH ADC).
 *
 * ZMK 는 자체 드라이버(zmk,maxim-max17048)를 쓰지만 우리는 **Zephyr 네이티브**를 쓴다
 * (drivers/fuel_gauge/max17048). 이식 코드 0 — kbd-matrix / ws2812 / regulator-fixed 와 같은 판단.
 * compatible 이 다르다: zmk,maxim-max17048 (X) -> maxim,max17048 (O)
 *
 * driver/battery.c 가 DT_HAS_COMPAT_STATUS_OKAY(maxim_max17048) 로 백엔드를 자동 선택한다.
 * Kconfig(CONFIG_FUEL_GAUGE / CONFIG_MAX17048 / CONFIG_I2C)는 보드 defconfig 에 있다.
 */
&i2c1 {
	status = "okay";
	compatible = "nordic,nrf-twi";
	pinctrl-0 = <&i2c1_default>;
	pinctrl-1 = <&i2c1_sleep>;
	pinctrl-names = "default", "sleep";

	fuel_gauge: max17048@36 {
		compatible = "maxim,max17048";
		status = "okay";
		reg = <0x36>;
	};
};

/*
 * 네오픽셀 — Zephyr 네이티브 worldsemi,ws2812-spi. 전원은 위 ext_power 레일이 공급한다.
 * MOSI 는 TXB0101 레벨시프터를 거쳐 VDD_OUT 도메인으로 나간다(회로도).
 */
&spi3 {
	compatible = "nordic,nrf-spim";
	status = "okay";

	pinctrl-0 = <&spi3_default>;
	pinctrl-1 = <&spi3_sleep>;
	pinctrl-names = "default", "sleep";

	led_strip: ws2812@0 {
		compatible = "worldsemi,ws2812-spi";
		reg = <0>;
		spi-max-frequency = <4000000>;

		chain-length = <42>;        /* wish40 LED 개수 (SK6812MINI-E) */
		spi-one-frame = <0x70>;
		spi-zero-frame = <0x40>;
		color-mapping = <LED_COLOR_ID_GREEN LED_COLOR_ID_RED LED_COLOR_ID_BLUE>;
	};
};

zephyr_udc0: &usbd {
	compatible = "nordic,nrf-usbd";
	status = "okay";
	num-bidir-endpoints = <0>;
	num-in-endpoints = <7>;
	num-out-endpoints = <2>;
	num-isoin-endpoints = <0>;
	num-isoout-endpoints = <0>;
};
```

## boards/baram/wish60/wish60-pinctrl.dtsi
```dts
&pinctrl {
  uart0_default: uart0_default {
    group1 {
      psels = <NRF_PSEL(UART_TX, 0, 10)>, <NRF_PSEL(UART_RX, 0, 9)>;
    };
  };

  uart0_sleep: uart0_sleep {
    group1 {
      psels = <NRF_PSEL(UART_TX, 0, 10)>;
    };
  };

  /* ws2812(네오픽셀) — SPIM MOSI 만 쓴다. wish60 회로: P0.26 */
  spi3_default: spi3_default {
    group1 {
      psels = <NRF_PSEL(SPIM_MOSI, 0, 26)>;
    };
  };

  spi3_sleep: spi3_sleep {
    group1 {
      psels = <NRF_PSEL(SPIM_MOSI, 0, 26)>;
      low-power-enable;
    };
  };

  /* MAX17048 연료게이지 — SDA P0.28 / SCL P0.02 (zmk-wish60 참고, 회로도 미검증) */
  i2c1_default: i2c1_default {
    group1 {
      psels = <NRF_PSEL(TWIM_SDA, 0, 28)>,
              <NRF_PSEL(TWIM_SCL, 0, 2)>;
      bias-pull-up;
    };
  };

  i2c1_sleep: i2c1_sleep {
    group1 {
      psels = <NRF_PSEL(TWIM_SDA, 0, 28)>,
              <NRF_PSEL(TWIM_SCL, 0, 2)>;
      low-power-enable;
      bias-pull-up;
    };
  };
};
```

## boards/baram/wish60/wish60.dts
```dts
/dts-v1/;
#include <nordic/nrf52840_qiaa.dtsi>
#include "wish60-pinctrl.dtsi"
#include <zephyr/dt-bindings/dt-util.h>   // BIT()
#include <zephyr/dt-bindings/led/led.h>      // LED_COLOR_ID_* (ws2812 color-mapping)

/ {
	model = "wish60";
	compatible = "baram,wish60";

	chosen {
		zephyr,sram = &sram0;
		zephyr,flash = &flash0;
		zephyr,code-partition = &code_partition;
    zephyr,console = &uart0;
	};

  /* 디버그용 LED (P0.31). 하트비트 등 개발 편의 — hw/driver/led.c. 키보드 기능과 무관. */
  leds {
    compatible = "gpio-leds";
    led: led_0 {
      gpios = <&gpio0 31 GPIO_ACTIVE_HIGH>;
      label = "LED";
    };
  };

  /*
   * 키보드 인디케이터 LED (P0.05) — 위 디버그 LED 와 **별개 부품**이다.
   *
   * 디버그 LED 드라이버(hw/driver/led.c)의 채널로 넣지 않고 노드를 따로 둔다: 그건 개발용이고
   * 이건 키보드 기능이라 수명이 다르다(디버그 LED 는 언젠가 빠져도 이건 남는다).
   * 사용처: keyboards/<kbd>/port/led_port.c 의 led_update_kb() — GPIO_DT_SPEC_GET 로 직접 잡는다.
   *
   * compatible 은 gpio-leds 를 쓴다(gpio-keys 는 입력 드라이버가 붙어 zephyr-code 를 요구한다).
   * CONFIG_LED 를 켜지 않으므로 LED 서브시스템 드라이버는 안 붙고 DT 매크로만 쓴다.
   */
  indicator_leds {
    compatible = "gpio-leds";
    caps_led: led_0 {
      gpios = <&gpio0 5 GPIO_ACTIVE_HIGH>;
      label = "CAPS_LED";
    };
  };

	usb_hid_kbd: hid_kbd {
		compatible = "zephyr,hid-device";
		label = "HID_KBD";
		protocol-code = "keyboard";
		in-report-size = <64>;
		in-polling-period-us = <1000>;
	};  

	usb_hid_via: hid_via {
		compatible = "zephyr,hid-device";
		label = "HID_VIA";
		protocol-code = "none";
		in-report-size = <32>;
    out-report-size = <32>;
		in-polling-period-us = <1000>;
    out-polling-period-us = <1000>;
	};

	usb_hid_exk: hid_exk {
		compatible = "zephyr,hid-device";
		label = "HID_EXK";
		protocol-code = "none";
		in-report-size = <64>;
		in-polling-period-us = <1000>;
  };

  /*
   * 키 매트릭스 — Zephyr 네이티브 gpio-kbd-matrix.
   *
   * [주의] Zephyr 명명은 반대다: row-gpios = 입력, col-gpios = 구동 출력.
   * wish60 은 row2col 이라 역매핑한다 — row-gpios = wish60 col(15), col-gpios = wish60 row(5).
   * 배경은 docs/PORTING-NOTES.md §2.4 참고.
   */
  /*
   * 네오픽셀 전원 레일 (wish60: P0.30).
   *
   * ZMK 는 zmk,ext-power-generic 이라는 자체 바인딩을 쓰지만, 이건 본질적으로 GPIO 로 켜고 끄는
   * 고정 레귤레이터라 Zephyr 네이티브 regulator-fixed 로 충분하다(regulator_enable/disable).
   * 흡수 코드 0 — kbd-matrix / MAX17048 과 같은 판단.
   *
   * wish60/wish65 둘 다 이 레일은 **네오픽셀만** 끊는다(595 는 상시 전원) — 확인됨.
   * regulator-boot-on 을 주지 않는다 = 부팅 시 꺼진 상태. RGB 를 켤 때만 올린다(전력).
   */
  ext_power: ext-power {
    compatible = "regulator-fixed";
    regulator-name = "ext-power";
    enable-gpios = <&gpio0 30 GPIO_ACTIVE_HIGH>;
    startup-delay-us = <1000>;   /* 레일이 올라올 시간. 바로 쓰면 첫 프레임이 깨진다 */
  };

  kbd_matrix: kbd-matrix {
    compatible = "gpio-kbd-matrix";

    row-gpios = <&gpio1 11 (GPIO_ACTIVE_HIGH | GPIO_PULL_DOWN)>,   /* wish60 col0  */
                <&gpio1 12 (GPIO_ACTIVE_HIGH | GPIO_PULL_DOWN)>,   /* col1  */
                <&gpio1 13 (GPIO_ACTIVE_HIGH | GPIO_PULL_DOWN)>,   /* col2  */
                <&gpio1 14 (GPIO_ACTIVE_HIGH | GPIO_PULL_DOWN)>,   /* col3  */
                <&gpio1 15 (GPIO_ACTIVE_HIGH | GPIO_PULL_DOWN)>,   /* col4  */
                <&gpio0  3 (GPIO_ACTIVE_HIGH | GPIO_PULL_DOWN)>,   /* col5  */
                <&gpio0 17 (GPIO_ACTIVE_HIGH | GPIO_PULL_DOWN)>,   /* col6  */
                <&gpio0 21 (GPIO_ACTIVE_HIGH | GPIO_PULL_DOWN)>,   /* col7  */
                <&gpio0 20 (GPIO_ACTIVE_HIGH | GPIO_PULL_DOWN)>,   /* col8  */
                <&gpio0 23 (GPIO_ACTIVE_HIGH | GPIO_PULL_DOWN)>,   /* col9  */
                <&gpio0 22 (GPIO_ACTIVE_HIGH | GPIO_PULL_DOWN)>,   /* col10 */
                <&gpio1  0 (GPIO_ACTIVE_HIGH | GPIO_PULL_DOWN)>,   /* col11 */
                <&gpio0 24 (GPIO_ACTIVE_HIGH | GPIO_PULL_DOWN)>,   /* col12 */
                <&gpio0 25 (GPIO_ACTIVE_HIGH | GPIO_PULL_DOWN)>,   /* col13 */
                <&gpio1 10 (GPIO_ACTIVE_HIGH | GPIO_PULL_DOWN)>;   /* col14 */

    col-gpios = <&gpio0 13 GPIO_ACTIVE_HIGH>,                      /* wish60 row0 */
                <&gpio0 14 GPIO_ACTIVE_HIGH>,                      /* row1 */
                <&gpio0 15 GPIO_ACTIVE_HIGH>,                      /* row2 */
                <&gpio0 16 GPIO_ACTIVE_HIGH>,                      /* row3 */
                <&gpio1  2 GPIO_ACTIVE_HIGH>;                      /* row4 */

    idle-mode = "interrupt";   /* 키 없을 때 인터럽트 대기 → CPU sleep */
    wakeup-source;             /* deep sleep(Phase 6)에서 wakeup 소스로 유지 */
    no-ghostkey-check;         /* 다이오드(row2col) 있으므로 고스팅 검사 불필요 */

    /*
     * 키 눌린 동안 매트릭스 재스캔 주기. QMK 처리 주기(config.h 의 QMK_TASK_PERIOD_MS)와는
     * **별개 노브**다 — 같을 필요 없다. 둘 다 CPU 를 깨우므로 전력엔 둘 다 영향을 준다.
     * 실측/근거는 docs/PORTING-NOTES.md §6.4.
     */
    poll-period-ms   = <2>;    /* 키 변화 감지 지연 <=2ms, USB 리포트율 500Hz */
    debounce-down-ms = <0>;    /* 디바운스는 QMK 가 담당 (이중 디바운스 방지) */
    debounce-up-ms   = <0>;
  };
};

&flash0 {
	/*
	 * wish60 단일슬롯 레이아웃. UF2 부트로더가 미리 들어있다고 전제하고 앱만 빌드한다.
	 * 반드시 --no-sysbuild 로 빌드할 것(안 그러면 부팅 안 함). docs/PORTING-NOTES.md §2.2/§2.3.
	 */
	partitions {
		compatible = "fixed-partitions";
		#address-cells = <1>;
		#size-cells = <1>;

		sd_partition: partition@0 {
			reg = <0x00000000 0x00001000>;
		};

		code_partition: partition@1000 {
			reg = <0x00001000 0x000d3000>;
		};

		/* QMK 키맵 영속화용 emu-eeprom 백엔드 (32KB = 8 페이지) */
		eeprom_partition: partition@d4000 {
			label = "eeprom";
			reg = <0x000d4000 0x00008000>;
		};

		/* 향후 NVS/settings (BLE bond 등, Phase 5) */
		storage_partition: partition@dc000 {
			label = "storage";
			reg = <0x000dc000 0x00018000>;
		};

		boot_partition: partition@f4000 {
			reg = <0x000f4000 0x0000c000>;
		};
	};
};

/ {
	/* QMK dynamic_keymap 저장소. size 는 config.h 의 TOTAL_EEPROM_BYTE_COUNT 와 일치시킬 것. */
	eeprom0: eeprom {
		compatible = "zephyr,emu-eeprom";
		size = <4096>;          /* 논리 EEPROM 크기 = config.h TOTAL_EEPROM_BYTE_COUNT */
		pagesize = <0x2000>;    /* 에뮬 페이지(=플래시 2페이지). size 보다 커야 함 */
		partition = <&eeprom_partition>;
		rambuf;             /* 읽기를 RAM 에서 → 플래시 read 회피 */
		partition-erase;    /* erase 지연·통합 → 플래시 erase 최소화 */
	};
};

/*
 * sense-edge-mask — row-gpios(입력) 핀을 그대로 BIT() 로 나열한다. 빠지면 빌드 에러
 * (port/matrix.c 의 BUILD_ASSERT). 이유는 docs/PORTING-NOTES.md §3.5 참고.
 */
&gpio0 {
  status = "okay";
  sense-edge-mask = <(BIT(3) | BIT(17) | BIT(20) | BIT(21) |
                      BIT(22) | BIT(23) | BIT(24) | BIT(25))>;
};

&gpiote {
  status = "okay";
};

/*
 * 배터리 잔량(VDDH) 측정용. MAX17048(i2c1 @0x36) 노드를 켜면 driver/battery.c 가 연료게이지
 * 백엔드로 자동 전환한다. docs/PORTING-NOTES.md §6.3 참고.
 */
&adc {
  status = "okay";
};

&uart0 {
  status = "okay";
  pinctrl-0 = <&uart0_default>;
  pinctrl-1 = <&uart0_sleep>;
  pinctrl-names = "default", "sleep";
  compatible = "nordic,nrf-uarte";
  current-speed = <115200>;
};

&gpio1 {
  status = "okay";
  sense-edge-mask = <(BIT(0) | BIT(10) | BIT(11) | BIT(12) |
                      BIT(13) | BIT(14) | BIT(15))>;
};

/*
 * 네오픽셀 — Zephyr 네이티브 worldsemi,ws2812-spi (SPIM MOSI 로 비트 패턴을 쏜다).
 * ZMK 도 같은 드라이버를 쓴다. 전원은 위 ext_power 레일이 공급한다.
 * 값(chain-length/color-mapping/frame)은 wish60 회로 기준.
 */
&spi3 {
  compatible = "nordic,nrf-spim";
  status = "okay";

  pinctrl-0 = <&spi3_default>;
  pinctrl-1 = <&spi3_sleep>;
  pinctrl-names = "default", "sleep";

  led_strip: ws2812@0 {
    compatible = "worldsemi,ws2812-spi";
    reg = <0>;                  /* SPI 바인딩상 필요하지만 CS 는 안 쓴다 */
    spi-max-frequency = <4000000>;

    chain-length = <16>;        /* wish60 언더글로우 LED 개수 */
    spi-one-frame = <0x70>;
    spi-zero-frame = <0x40>;
    color-mapping = <LED_COLOR_ID_GREEN LED_COLOR_ID_RED LED_COLOR_ID_BLUE>;
  };
};

/*
 * 배터리 연료게이지 — MAX17048 (i2c1 @0x36). **검증용으로 활성화**한다.
 *
 * wish60 회로엔 MAX17048 이 실장돼 있다(§6.3). 지금까지는 VDDH ADC 를 썼지만, 연료게이지가
 * 전압 곡선보다 SOC 가 정확하고 칩은 어차피 대기 전류(~25µA)를 먹고 있으니 켜는 게 낫다.
 *
 * driver/battery.c 가 DT_HAS_COMPAT_STATUS_OKAY(maxim_max17048) 로 이 노드를 감지해 백엔드를
 * **자동 전환**한다(VDDH ADC -> 연료게이지). Kconfig(FUEL_GAUGE/MAX17048/I2C)는 defconfig 에.
 *
 * [핀 미검증] SDA P0.28 / SCL P0.02 는 zmk-wish60 정의에서 가져왔다 — 회로도로 직접 확인하지
 * 못했다. zmk-wish60 은 실제 동작하던 정의라 신뢰도는 높지만, 안 잡히면 여기부터 의심할 것.
 * ZMK compatible(zmk,maxim-max17048) 이 아니라 Zephyr 네이티브(maxim,max17048)를 쓴다.
 */
&i2c1 {
	status = "okay";
	compatible = "nordic,nrf-twi";
	pinctrl-0 = <&i2c1_default>;
	pinctrl-1 = <&i2c1_sleep>;
	pinctrl-names = "default", "sleep";

	fuel_gauge: max17048@36 {
		compatible = "maxim,max17048";
		status = "okay";
		reg = <0x36>;
	};
};

zephyr_udc0: &usbd {
	compatible = "nordic,nrf-usbd";
	status = "okay";
	num-bidir-endpoints = <0>;
	num-in-endpoints = <7>;
	num-out-endpoints = <2>;
	num-isoin-endpoints = <0>;
	num-isoout-endpoints = <0>;
};
```

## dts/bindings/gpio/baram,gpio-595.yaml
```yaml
# 74HC595 시프트레지스터를 SPI 로 구동하는 GPIO 컨트롤러.
#
# [왜 네이티브 ti,sn74hc595 를 안 쓰나]
# Zephyr 의 in-tree 바인딩은 `ngpios: const: 8` 로 **1칩 고정**이고 드라이버도 `uint8_t output`
# 이라 직렬 연결을 지원하지 않는다. wish65 는 595 두 개를 직렬로 물려 16핀을 쓰므로 불가.
# ZMK 의 zmk,gpio-595 (app/module/drivers/gpio/gpio_595.c) 를 이식했다 — nwrite = ngpios/8 로
# 직렬을 지원하고, 안정 API(gpio.h/spi.h)만 써서 이식 비용이 낮다.
#
# 출력 전용이다(595 는 읽기가 없다). port_get_raw 는 -ENOTSUP.

description: 74HC595 shift register as a GPIO controller (SPI, daisy-chainable)

compatible: "baram,gpio-595"

include: [gpio-controller.yaml, spi-device.yaml]

properties:
  "#gpio-cells":
    const: 2

  ngpios:
    type: int
    required: true
    enum:
      - 8
      - 16
      - 24
      - 32
    description: |
      GPIO 개수 = 직렬 연결된 595 개수 × 8.
      체인의 **첫 칩이 최하위 바이트**다(SPI 로는 마지막에 나가지만 시프트되어 그렇게 정렬된다).

gpio-cells:
  - pin
  - flags
```

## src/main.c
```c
#include "main.h"


int main(void)
{
  hwInit();
  apInit();
  apMain();

  return 0;
}
```
